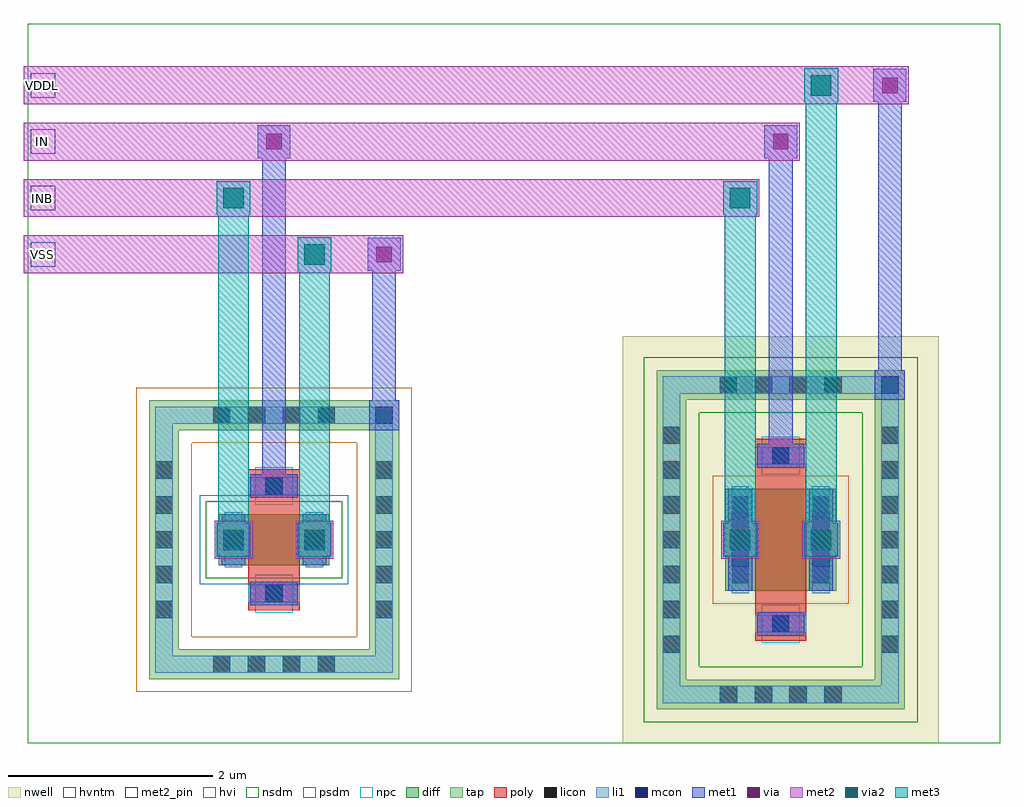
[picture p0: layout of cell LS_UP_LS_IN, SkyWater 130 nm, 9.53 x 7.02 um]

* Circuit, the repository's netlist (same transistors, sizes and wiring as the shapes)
.subckt LS_UP_LS_IN IN INB VDDL VSS
XMPI INB IN VDDL VDDL sky130_fd_pr__pfet_g5v0d10v5 L=0.5 W=1 nf=1
XMNI INB IN VSS VSS sky130_fd_pr__nfet_g5v0d10v5 L=0.5 W=0.5 nf=1
.ends

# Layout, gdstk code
import gdstk
lib = gdstk.Library(unit=1e-6, precision=1e-09)
def R(c, l, rs):  # rectangles x0, y0, x1, y1
    for r in rs: c.add(gdstk.rectangle(r[:2], r[2:], *l))
def A(c, l, x, y, w, h, nx, ny, dx, dy):  # array of equal rectangles
    R(c, l, [(x+i*dx, y+j*dy, x+i*dx+w, y+j*dy+h) for i in range(nx) for j in range(ny)])
nwell = (64, 20)
diff = (65, 20)
tap = (65, 44)
poly = (66, 20)
licon = (66, 44)
li1 = (67, 20)
mcon = (67, 44)
met1 = (68, 20)
via = (68, 44)
met2_pin = (69, 16)
met2 = (69, 20)
via2 = (69, 44)
met3 = (70, 20)
hvi = (75, 20)
nsdm = (93, 44)
psdm = (94, 20)
npc = (95, 20)
hvntm = (125, 20)

ls_up_ls_in = lib.new_cell('LS_UP_LS_IN')
R(ls_up_ls_in, nwell, [(5.81,0,8.89,3.97), (5.81,0,8.89,3.97)])
R(ls_up_ls_in, diff, [(6.81,1.485,7.89,2.485), (1.865,1.735,2.945,2.235)])
R(ls_up_ls_in, tap, [(6.14,0.33,8.56,0.62), (6.14,0.62,6.43,3.35), (8.27,0.62,8.56,3.35), (1.185,0.625,3.625,0.915), (1.185,0.915,1.475,3.055), (3.335,0.915,3.625,3.055), (1.185,3.055,3.625,3.345), (6.14,3.35,8.56,3.64)])
R(ls_up_ls_in, poly, [(7.1,1,7.6,2.97), (2.155,1.295,2.655,2.675)])
A(ls_up_ls_in, licon, 6.755, 0.39, 0.17, 0.17, 4, 2, 0.34, 3.02)
A(ls_up_ls_in, licon, 1.81, 0.685, 0.17, 0.17, 4, 2, 0.34, 2.43)
A(ls_up_ls_in, licon, 6.2, 0.88, 0.17, 0.17, 1, 7, 0, 0.34)
A(ls_up_ls_in, licon, 8.33, 0.88, 0.17, 0.17, 1, 7, 0, 0.34)
A(ls_up_ls_in, licon, 1.245, 1.22, 0.17, 0.17, 1, 5, 0, 0.34)
A(ls_up_ls_in, licon, 3.395, 1.22, 0.17, 0.17, 1, 5, 0, 0.34)
A(ls_up_ls_in, licon, 6.87, 1.56, 0.17, 0.17, 1, 3, 0, 0.34)
A(ls_up_ls_in, licon, 7.66, 1.56, 0.17, 0.17, 1, 3, 0, 0.34)
R(ls_up_ls_in, licon, [(7.265,1.08,7.435,1.25), (2.32,1.375,2.49,1.545), (1.925,1.9,2.095,2.07), (2.715,1.9,2.885,2.07), (2.32,2.425,2.49,2.595), (7.265,2.72,7.435,2.89)])
R(ls_up_ls_in, li1, [(6.2,0.39,8.5,0.56), (6.2,0.56,6.37,3.41), (8.33,0.56,8.5,3.41), (1.245,0.685,3.565,0.855), (1.245,0.855,1.415,3.115), (3.395,0.855,3.565,3.115), (7.1,1.08,7.6,1.25), (2.155,1.375,2.655,1.545), (6.87,1.465,7.04,2.505), (7.66,1.465,7.83,2.505), (1.925,1.715,2.095,2.255), (2.715,1.715,2.885,2.255), (2.155,2.425,2.655,2.595), (7.1,2.72,7.6,2.89), (1.245,3.115,3.565,3.285), (6.2,3.41,8.5,3.58)])
R(ls_up_ls_in, mcon, [(7.265,1.08,7.435,1.25), (2.32,1.375,2.49,1.545), (6.87,1.72,7.04,1.89), (7.66,1.72,7.83,1.89), (1.925,1.9,2.095,2.07), (2.715,1.9,2.885,2.07), (6.87,2.08,7.04,2.25), (7.66,2.08,7.83,2.25), (2.32,2.425,2.49,2.595), (7.265,2.72,7.435,2.89), (3.395,3.115,3.565,3.285), (8.33,3.41,8.5,3.58)])
R(ls_up_ls_in, met1, [(7.12,1.05,7.58,1.28), (2.175,1.345,2.635,1.575), (6.84,1.485,7.07,2.485), (7.63,1.485,7.86,2.485), (1.895,1.735,2.125,2.235), (2.685,1.735,2.915,2.235), (1.85,1.825,2.17,2.145), (2.64,1.825,2.96,2.145), (6.795,1.825,7.115,2.145), (7.585,1.825,7.905,2.145), (2.175,2.395,2.635,2.625), (2.29,2.395,2.52,5.985), (7.12,2.69,7.58,2.92), (7.235,2.69,7.465,5.985), (3.335,3.055,3.625,3.345), (3.365,3.085,3.595,4.885), (8.27,3.35,8.56,3.64), (8.3,3.38,8.53,6.535), (3.32,4.61,3.64,4.93), (2.245,5.71,2.565,6.03), (7.19,5.71,7.51,6.03), (8.255,6.26,8.575,6.58)])
R(ls_up_ls_in, via, [(1.935,1.91,2.085,2.06), (2.725,1.91,2.875,2.06), (6.88,1.91,7.03,2.06), (7.67,1.91,7.82,2.06), (3.405,4.695,3.555,4.845), (2.33,5.795,2.48,5.945), (7.275,5.795,7.425,5.945), (8.34,6.345,8.49,6.495)])
A(ls_up_ls_in, met2_pin, 0.03, 4.65, 0.24, 0.24, 1, 4, 0, 0.55)
R(ls_up_ls_in, met2, [(1.825,1.8,2.195,2.17), (2.615,1.8,2.985,2.17), (6.77,1.8,7.14,2.17), (7.56,1.8,7.93,2.17), (1.85,1.825,2.17,2.145), (2.64,1.825,2.96,2.145), (6.795,1.825,7.115,2.145), (7.585,1.825,7.905,2.145), (-0.035,4.585,3.665,4.955), (2.615,4.585,2.985,4.955), (3.32,4.61,3.64,4.93), (-0.035,5.135,7.14,5.505), (1.825,5.135,2.195,5.505), (6.77,5.135,7.14,5.505), (-0.035,5.685,7.535,6.055), (2.245,5.71,2.565,6.03), (7.19,5.71,7.51,6.03), (-0.035,6.235,8.6,6.605), (7.56,6.235,7.93,6.605), (8.255,6.26,8.575,6.58)])
R(ls_up_ls_in, via2, [(1.91,1.885,2.11,2.085), (2.7,1.885,2.9,2.085), (6.855,1.885,7.055,2.085), (7.645,1.885,7.845,2.085), (2.7,4.67,2.9,4.87), (1.91,5.22,2.11,5.42), (6.855,5.22,7.055,5.42), (7.645,6.32,7.845,6.52)])
R(ls_up_ls_in, met3, [(1.845,1.82,2.175,2.15), (2.635,1.82,2.965,2.15), (6.79,1.82,7.12,2.15), (7.58,1.82,7.91,2.15), (1.86,1.835,2.16,5.47), (2.65,1.835,2.95,4.92), (6.805,1.835,7.105,5.47), (7.595,1.835,7.895,6.57), (2.635,4.605,2.965,4.935), (1.845,5.155,2.175,5.485), (6.79,5.155,7.12,5.485), (7.58,6.255,7.91,6.585)])
R(ls_up_ls_in, hvi, [(0,0,9.49,7.02), (5.81,0,8.89,3.97), (1,0.44,3.81,3.53)])
R(ls_up_ls_in, nsdm, [(6.015,0.205,8.685,0.745), (6.015,0.745,6.555,3.225), (8.145,0.745,8.685,3.225), (1.74,1.61,3.07,2.36), (6.015,3.225,8.685,3.765)])
R(ls_up_ls_in, psdm, [(1.06,0.5,3.75,1.04), (1.06,1.04,1.6,2.93), (3.21,1.04,3.75,2.93), (6.685,1.36,8.015,2.61), (1.06,2.93,3.75,3.47)])
R(ls_up_ls_in, npc, [(7.165,0.98,7.535,1.35), (2.22,1.275,2.59,1.645), (2.22,2.325,2.59,2.695), (7.165,2.62,7.535,2.99)])
R(ls_up_ls_in, hvntm, [(1.68,1.55,3.13,2.42)])
ls_up_ls_in.add(gdstk.Label('VSS', (0.15,4.77), layer=69, texttype=5))
ls_up_ls_in.add(gdstk.Label('INB', (0.15,5.32), layer=69, texttype=5))
ls_up_ls_in.add(gdstk.Label('IN', (0.15,5.87), layer=69, texttype=5))
ls_up_ls_in.add(gdstk.Label('VDDL', (0.15,6.42), layer=69, texttype=5))

lib.write_gds('LS_UP_LS_IN.gds')
